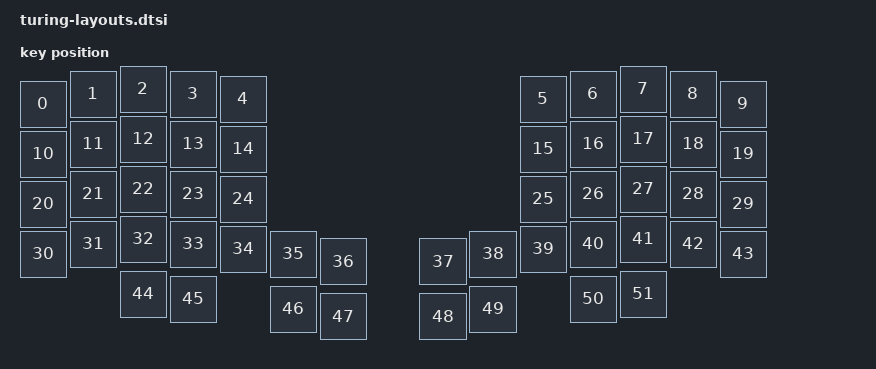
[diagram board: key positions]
/*
* Copyright (c) 2024 The ZMK Contributors
*
* SPDX-License-Identifier: MIT
*
* Physical layout for the Turing split. Required for ZMK Studio support.
* Key positions are listed in the same order as the matrix transform:
* rows top to bottom, left to right, thumb/inner cluster keys within
* rows 3 and 4. Coordinates are in centi-keyunits (100 = 1u) and are an
* approximation of the column stagger for rendering in Studio.
*/

#include <physical_layouts.dtsi>

/ {
	turing_layout: turing_layout {
		compatible = "zmk,physical-layout";
		display-name = "Turing";

		transform = <&default_transform>;
		kscan = <&kscan0>;

		keys  //                     w   h    x    y  rot  rx  ry
			// Row 0
			= <&key_physical_attrs 100 100    0   30    0   0   0>
			, <&key_physical_attrs 100 100  100   10    0   0   0>
			, <&key_physical_attrs 100 100  200    0    0   0   0>
			, <&key_physical_attrs 100 100  300   10    0   0   0>
			, <&key_physical_attrs 100 100  400   20    0   0   0>
			, <&key_physical_attrs 100 100 1000   20    0   0   0>
			, <&key_physical_attrs 100 100 1100   10    0   0   0>
			, <&key_physical_attrs 100 100 1200    0    0   0   0>
			, <&key_physical_attrs 100 100 1300   10    0   0   0>
			, <&key_physical_attrs 100 100 1400   30    0   0   0>
			// Row 1
			, <&key_physical_attrs 100 100    0  130    0   0   0>
			, <&key_physical_attrs 100 100  100  110    0   0   0>
			, <&key_physical_attrs 100 100  200  100    0   0   0>
			, <&key_physical_attrs 100 100  300  110    0   0   0>
			, <&key_physical_attrs 100 100  400  120    0   0   0>
			, <&key_physical_attrs 100 100 1000  120    0   0   0>
			, <&key_physical_attrs 100 100 1100  110    0   0   0>
			, <&key_physical_attrs 100 100 1200  100    0   0   0>
			, <&key_physical_attrs 100 100 1300  110    0   0   0>
			, <&key_physical_attrs 100 100 1400  130    0   0   0>
			// Row 2
			, <&key_physical_attrs 100 100    0  230    0   0   0>
			, <&key_physical_attrs 100 100  100  210    0   0   0>
			, <&key_physical_attrs 100 100  200  200    0   0   0>
			, <&key_physical_attrs 100 100  300  210    0   0   0>
			, <&key_physical_attrs 100 100  400  220    0   0   0>
			, <&key_physical_attrs 100 100 1000  220    0   0   0>
			, <&key_physical_attrs 100 100 1100  210    0   0   0>
			, <&key_physical_attrs 100 100 1200  200    0   0   0>
			, <&key_physical_attrs 100 100 1300  210    0   0   0>
			, <&key_physical_attrs 100 100 1400  230    0   0   0>
			// Row 3 (main + inner cluster upper keys)
			, <&key_physical_attrs 100 100    0  330    0   0   0>
			, <&key_physical_attrs 100 100  100  310    0   0   0>
			, <&key_physical_attrs 100 100  200  300    0   0   0>
			, <&key_physical_attrs 100 100  300  310    0   0   0>
			, <&key_physical_attrs 100 100  400  320    0   0   0>
			, <&key_physical_attrs 100 100  500  330    0   0   0>
			, <&key_physical_attrs 100 100  600  345    0   0   0>
			, <&key_physical_attrs 100 100  800  345    0   0   0>
			, <&key_physical_attrs 100 100  900  330    0   0   0>
			, <&key_physical_attrs 100 100 1000  320    0   0   0>
			, <&key_physical_attrs 100 100 1100  310    0   0   0>
			, <&key_physical_attrs 100 100 1200  300    0   0   0>
			, <&key_physical_attrs 100 100 1300  310    0   0   0>
			, <&key_physical_attrs 100 100 1400  330    0   0   0>
			// Row 4 (thumbs)
			, <&key_physical_attrs 100 100  200  410    0   0   0>
			, <&key_physical_attrs 100 100  300  420    0   0   0>
			, <&key_physical_attrs 100 100  500  440    0   0   0>
			, <&key_physical_attrs 100 100  600  455    0   0   0>
			, <&key_physical_attrs 100 100  800  455    0   0   0>
			, <&key_physical_attrs 100 100  900  440    0   0   0>
			, <&key_physical_attrs 100 100 1100  420    0   0   0>
			, <&key_physical_attrs 100 100 1200  410    0   0   0>
			;
	};
};
